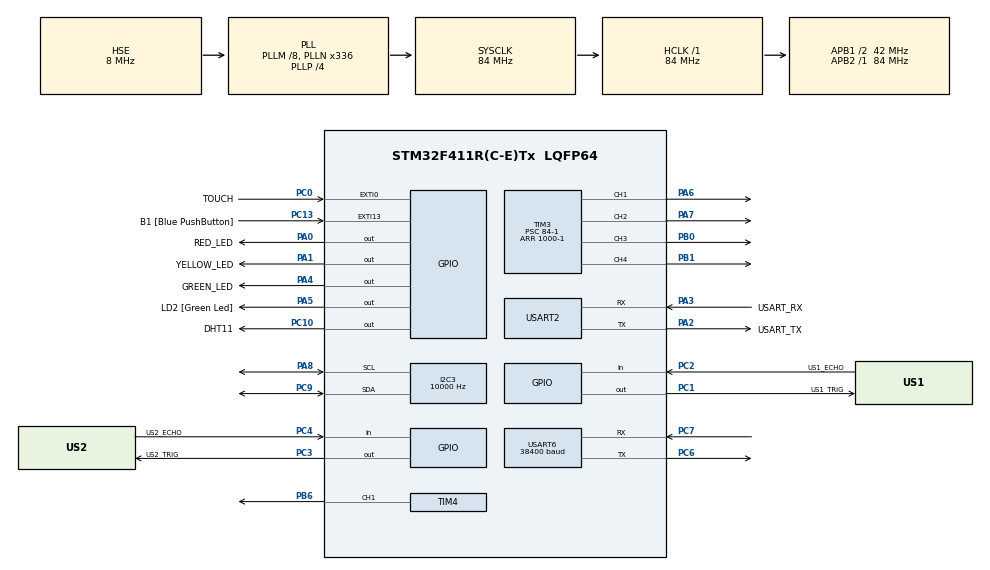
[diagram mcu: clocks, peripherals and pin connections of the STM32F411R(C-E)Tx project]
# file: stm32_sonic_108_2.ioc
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I2C3.ClockSpeed=10000
Mcu.Family=STM32F4
Mcu.Name=STM32F411R(C-E)Tx
Mcu.Package=LQFP64
NVIC.EXTI0_IRQn=true\:0\:0\:false\:false\:true\:true\:true\:true
NVIC.EXTI15_10_IRQn=true\:0\:0\:false\:false\:true\:true\:true\:true
NVIC.PriorityGroup=NVIC_PRIORITYGROUP_0
NVIC.TIM3_IRQn=true\:0\:0\:false\:false\:true\:true\:true\:true
NVIC.USART2_IRQn=true\:0\:0\:false\:false\:true\:true\:true\:true
NVIC.USART6_IRQn=true\:0\:0\:false\:false\:true\:true\:true\:true
PA0-WKUP.GPIO_Label=RED_LED
PA0-WKUP.Signal=GPIO_Output
PA1.GPIO_Label=YELLOW_LED
PA1.Signal=GPIO_Output
PA13.GPIO_Label=TMS
PA13.Mode=Serial_Wire
PA13.Signal=SYS_JTMS-SWDIO
PA14.GPIO_Label=TCK
PA14.Mode=Serial_Wire
PA14.Signal=SYS_JTCK-SWCLK
PA2.GPIO_Label=USART_TX
PA2.Mode=Asynchronous
PA2.Signal=USART2_TX
PA3.GPIO_Label=USART_RX
PA3.Mode=Asynchronous
PA3.Signal=USART2_RX
PA4.GPIO_Label=GREEN_LED
PA4.Signal=GPIO_Output
PA5.GPIO_Label=LD2 [Green Led]
PA5.Signal=GPIO_Output
PA6.Signal=S_TIM3_CH1
PA7.Signal=S_TIM3_CH2
PA8.Mode=I2C
PA8.Signal=I2C3_SCL
PB0.Signal=S_TIM3_CH3
PB1.Signal=S_TIM3_CH4
PB3.GPIO_Label=SWO
PB3.Signal=SYS_JTDO-SWO
PB6.Signal=S_TIM4_CH1
PC0.GPIO_Label=TOUCH
PC0.Signal=GPXTI0
PC1.GPIO_Label=US1_TRIG
PC1.Signal=GPIO_Output
PC10.GPIO_Label=DHT11
PC10.Signal=GPIO_Output
PC13-ANTI_TAMP.GPIO_Label=B1 [Blue PushButton]
PC13-ANTI_TAMP.GPIO_ModeDefaultEXTI=GPIO_MODE_IT_FALLING
PC13-ANTI_TAMP.Signal=GPXTI13
PC14-OSC32_IN.Signal=RCC_OSC32_IN
PC15-OSC32_OUT.Signal=RCC_OSC32_OUT
PC2.GPIO_Label=US1_ECHO
PC2.Signal=GPIO_Input
PC3.GPIO_Label=US2_TRIG
PC3.Signal=GPIO_Output
PC4.GPIO_Label=US2_ECHO
PC4.Signal=GPIO_Input
PC6.Mode=Asynchronous
PC6.Signal=USART6_TX
PC7.Mode=Asynchronous
PC7.Signal=USART6_RX
PC9.Mode=I2C
PC9.Signal=I2C3_SDA
PH0\ -\ OSC_IN.Mode=HSE-External-Oscillator
PH0\ -\ OSC_IN.Signal=RCC_OSC_IN
PH1\ -\ OSC_OUT.Mode=HSE-External-Oscillator
PH1\ -\ OSC_OUT.Signal=RCC_OSC_OUT
ProjectManager.HeapSize=0x200
ProjectManager.StackSize=0x400
ProjectManager.TargetToolchain=STM32CubeIDE
RCC.48MHZClocksFreq_Value=84000000
RCC.AHBFreq_Value=84000000
RCC.APB1CLKDivider=RCC_HCLK_DIV2
RCC.APB1Freq_Value=42000000
RCC.APB1TimFreq_Value=84000000
RCC.APB2Freq_Value=84000000
RCC.APB2TimFreq_Value=84000000
RCC.CortexFreq_Value=84000000
RCC.FLatency-AdvancedSettings=FLASH_LATENCY_2
RCC.HCLKFreq_Value=84000000
RCC.HSE_VALUE=8000000
RCC.HSI_VALUE=16000000
RCC.LSE_VALUE=32768
RCC.PLLM=8
RCC.PLLN=336
RCC.PLLP=RCC_PLLP_DIV4
RCC.PLLSourceVirtual=RCC_PLLSOURCE_HSE
RCC.SYSCLKFreq_VALUE=84000000
RCC.SYSCLKSource=RCC_SYSCLKSOURCE_PLLCLK
RCC.VCOOutputFreq_Value=336000000
SH.S_TIM3_CH1.0=TIM3_CH1,PWM Generation1 CH1
SH.S_TIM3_CH2.0=TIM3_CH2,PWM Generation2 CH2
SH.S_TIM3_CH3.0=TIM3_CH3,PWM Generation3 CH3
SH.S_TIM3_CH4.0=TIM3_CH4,PWM Generation4 CH4
SH.S_TIM4_CH1.0=TIM4_CH1,PWM Generation1 CH1
TIM3.AutoReloadPreload=TIM_AUTORELOAD_PRELOAD_ENABLE
TIM3.Channel-PWM\ Generation1\ CH1=TIM_CHANNEL_1
TIM3.Channel-PWM\ Generation2\ CH2=TIM_CHANNEL_2
TIM3.Channel-PWM\ Generation3\ CH3=TIM_CHANNEL_3
TIM3.Channel-PWM\ Generation4\ CH4=TIM_CHANNEL_4
TIM3.Period=1000-1
TIM3.Prescaler=84-1
TIM4.Channel-PWM\ Generation1\ CH1=TIM_CHANNEL_1
TIM4.Period=20000-1
TIM4.Prescaler=84-1
TIM4.Pulse-PWM\ Generation1\ CH1=500
USART2.VirtualMode=VM_ASYNC
USART6.BaudRate=38400
USART6.VirtualMode=VM_ASYNC
VP_TIM3_VS_ClockSourceINT.Mode=Internal
VP_TIM4_VS_ClockSourceINT.Mode=Internal
board=NUCLEO-F411RE

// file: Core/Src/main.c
/* USER CODE BEGIN Header */
/**
  ******************************************************************************
  * @file           : main.c
  * @brief          : Main program body
  ******************************************************************************
  * @attention
  *
  * Copyright (c) 2024 STMicroelectronics.
  * All rights reserved.
  *
  * This software is licensed under terms that can be found in the LICENSE file
  * in the root directory of this software component.
  * If no LICENSE file comes with this software, it is provided AS-IS.
  *
  ******************************************************************************
  */
/* USER CODE END Header */
#include "main.h"

/* USER CODE BEGIN Includes */
#include <stdio.h>
#include <string.h>
#include <stdlib.h>
#include "esp.h"
#include "dht.h"
#include "clcd.h"
/* USER CODE END Includes */

/* USER CODE BEGIN PD */
#ifdef __GNUC__
#define PUTCHAR_PROTOTYPE int __io_putchar(int ch)
#else
#define PUTCHAR_PROTOTYPE int fputc(int ch, FILE *f)
#endif /* __GNUC__ */
#define ARR_CNT 5
#define CMD_SIZE 50

/* USER CODE END PD */

I2C_HandleTypeDef hi2c3;

TIM_HandleTypeDef htim3;
TIM_HandleTypeDef htim4;

UART_HandleTypeDef huart2;
UART_HandleTypeDef huart6;

/* USER CODE BEGIN PV */
uint8_t rx2char;
extern cb_data_t cb_data;
extern volatile unsigned char rx2Flag;
extern volatile char rx2Data[50];
volatile int tim3Flag1Sec=1;
volatile unsigned int tim3Sec;
volatile int keyNo;
int rgbFlag;

int is_door_open = 0;
/* USER CODE END PV */

void SystemClock_Config(void);
static void MX_GPIO_Init(void);
static void MX_USART2_UART_Init(void);
static void MX_USART6_UART_Init(void);
static void MX_TIM3_Init(void);
static void MX_TIM4_Init(void);
static void MX_I2C3_Init(void);
/* USER CODE BEGIN PFP */
char strBuff[MAX_ESP_COMMAND_LEN];
void MX_GPIO_LED_ON(int flag);
void MX_GPIO_LED_OFF(int flag);
void esp_event(char *);
long map(long x, long in_min, long in_max, long out_min, long out_max);
void set_rgb_led(int red, int green, int blue);

int get_distance(GPIO_TypeDef* TrigPort, uint16_t TrigPin, GPIO_TypeDef* EchoPort, uint16_t EchoPin);
void delay_us(uint32_t us);
/* USER CODE END PFP */

int main(void)
{

  /* USER CODE BEGIN 1 */
	int ret = 0;
	int trash_dist1 = 0;
	int trash_dist2 = 0;
  /* USER CODE END 1 */

  /* MCU Configuration--------------------------------------------------------*/

  /* Reset of all peripherals, Initializes the Flash interface and the Systick. */
  HAL_Init();

  /* Configure the system clock */
  SystemClock_Config();

  /* Initialize all configured peripherals */
  MX_GPIO_Init();
  MX_USART2_UART_Init();
  MX_USART6_UART_Init();
  MX_TIM3_Init();
  MX_TIM4_Init();
  MX_I2C3_Init();
  /* USER CODE BEGIN 2 */
  printf("=== Smart Trash Can System START ===\r\n");

  ret |= drv_uart_init();
  ret |= drv_esp_init();
  if(ret != 0)
  {
	  printf("Esp response error\r\n");
	  Error_Handler();
  }

  AiotClient_Init();
// ==========================================

  // 2. 서보모터 초기화 (문 닫기)
  HAL_TIM_PWM_Start(&htim4, TIM_CHANNEL_1);
  __HAL_TIM_SetCompare(&htim4, TIM_CHANNEL_1, 1500);
  printf("Servo Motor Initialized (Original Position - 90 deg)\r\n");

  uint32_t last_sensing_time = 0;

  /* USER CODE END 2 */

  /* Infinite loop */
  /* USER CODE BEGIN WHILE */
  while (1)
  {
		if(strstr((char *)cb_data.buf,"+IPD") && cb_data.buf[cb_data.length-1] == '\n')
		{
			//?��?��?���??  \r\n+IPD,15:[KSH_LIN]HELLO\n
			strcpy(strBuff,strchr((char *)cb_data.buf,'['));
			memset(cb_data.buf,0x0,sizeof(cb_data.buf));
			cb_data.length = 0;
			esp_event(strBuff);
		}

		if(HAL_GPIO_ReadPin(TOUCH_GPIO_Port, TOUCH_Pin) == GPIO_PIN_SET)
				{
					if(is_door_open == 0) // 문이 닫혀있을 때(가로 상태)
					{
						printf("[Touch] Rotating Right to Vertical...\r\n");

						// (1) 오른쪽으로 회전
						__HAL_TIM_SetCompare(&htim4, TIM_CHANNEL_1, 500);
						is_door_open = 1;

						// (2) 서버 전송
						esp_send_data("[ID]DOOR@OPEN\n");

						// (3) 3초 대기 (세로 상태 유지)
						HAL_Delay(3000);

					    // (4) 원위치 복귀
						printf("Returning to Position 2...\r\n");
						__HAL_TIM_SetCompare(&htim4, TIM_CHANNEL_1, 1500);
						is_door_open = 0;

						HAL_Delay(500);
					}
				}
		if(HAL_GetTick() - last_sensing_time > 5000)
		{
			last_sensing_time = HAL_GetTick();

			// (1) 쓰레기통 내부 높이 측정 (초음파 1번)
			trash_dist1 = get_distance(US1_TRIG_GPIO_Port, US1_TRIG_Pin, US1_ECHO_GPIO_Port, US1_ECHO_Pin);
			HAL_Delay(50); // 센서 간섭 방지

			// (2) 높이 측정 (초음파 2번)
			trash_dist2 = get_distance(US2_TRIG_GPIO_Port, US2_TRIG_Pin, US2_ECHO_GPIO_Port, US2_ECHO_Pin);

			printf("[Sensor] Trash Height 1: %d cm, Trash Height 2: %d cm\r\n", trash_dist1, trash_dist2);

			// (3) 데이터 전송 (형식: TRASH@높이1@높이2)
			char sendData[50];
			sprintf(sendData, "[TRASH_SQL]TRASH@%d@%d\n", trash_dist1, trash_dist2);
			esp_send_data(sendData);

			sprintf(sendData, "[ARDUINO]TRASH@%d@%d\n", trash_dist1, trash_dist2);
			esp_send_data(sendData);

		}

		if ((trash_dist1+trash_dist2)/2 < 6) // 쓰레기가 거의 꽉 참 -> 빨강
		{
		    HAL_GPIO_WritePin(RED_LED_GPIO_Port, RED_LED_Pin, GPIO_PIN_SET);   // 빨강 ON
		    HAL_GPIO_WritePin(YELLOW_LED_GPIO_Port, YELLOW_LED_Pin, GPIO_PIN_RESET); // 노랑 OFF
		    HAL_GPIO_WritePin(GREEN_LED_GPIO_Port, GREEN_LED_Pin, GPIO_PIN_RESET); // 초록 OFF
		}
		else if ((trash_dist1+trash_dist2)/2 < 17) // 중간 정도 참 -> 노랑
		{
		    HAL_GPIO_WritePin(RED_LED_GPIO_Port, RED_LED_Pin, GPIO_PIN_RESET); // 빨강 OFF
		    HAL_GPIO_WritePin(YELLOW_LED_GPIO_Port, YELLOW_LED_Pin, GPIO_PIN_SET);   // 노랑 ON
		    HAL_GPIO_WritePin(GREEN_LED_GPIO_Port, GREEN_LED_Pin, GPIO_PIN_RESET); // 초록 OFF
		}

		else // 널널함 (20cm 이상) -> 초록
		{
		    HAL_GPIO_WritePin(RED_LED_GPIO_Port, RED_LED_Pin, GPIO_PIN_RESET); // 빨강 OFF
		    HAL_GPIO_WritePin(YELLOW_LED_GPIO_Port, YELLOW_LED_Pin, GPIO_PIN_RESET); // 노랑 OFF
		    HAL_GPIO_WritePin(GREEN_LED_GPIO_Port, GREEN_LED_Pin, GPIO_PIN_SET);   // 초록 ON
		}

    /* USER CODE END WHILE */

  }
}

void SystemClock_Config(void)
{
  RCC_OscInitTypeDef RCC_OscInitStruct = {0};
  RCC_ClkInitTypeDef RCC_ClkInitStruct = {0};

  /** Configure the main internal regulator output voltage
  */
  __HAL_RCC_PWR_CLK_ENABLE();
  __HAL_PWR_VOLTAGESCALING_CONFIG(PWR_REGULATOR_VOLTAGE_SCALE1);

  /** Initializes the RCC Oscillators according to the specified parameters
  * in the RCC_OscInitTypeDef structure.
  */
  RCC_OscInitStruct.OscillatorType = RCC_OSCILLATORTYPE_HSE;
  RCC_OscInitStruct.HSEState = RCC_HSE_ON;
  RCC_OscInitStruct.PLL.PLLState = RCC_PLL_ON;
  RCC_OscInitStruct.PLL.PLLSource = RCC_PLLSOURCE_HSE;
  RCC_OscInitStruct.PLL.PLLM = 8;
  RCC_OscInitStruct.PLL.PLLN = 336;
  RCC_OscInitStruct.PLL.PLLP = RCC_PLLP_DIV4;
  RCC_OscInitStruct.PLL.PLLQ = 4;
  if (HAL_RCC_OscConfig(&RCC_OscInitStruct) != HAL_OK)
  {
    Error_Handler();
  }

  /** Initializes the CPU, AHB and APB buses clocks
  */
  RCC_ClkInitStruct.ClockType = RCC_CLOCKTYPE_HCLK|RCC_CLOCKTYPE_SYSCLK
                              |RCC_CLOCKTYPE_PCLK1|RCC_CLOCKTYPE_PCLK2;
  RCC_ClkInitStruct.SYSCLKSource = RCC_SYSCLKSOURCE_PLLCLK;
  RCC_ClkInitStruct.AHBCLKDivider = RCC_SYSCLK_DIV1;
  RCC_ClkInitStruct.APB1CLKDivider = RCC_HCLK_DIV2;
  RCC_ClkInitStruct.APB2CLKDivider = RCC_HCLK_DIV1;

  if (HAL_RCC_ClockConfig(&RCC_ClkInitStruct, FLASH_LATENCY_2) != HAL_OK)
  {
    Error_Handler();
  }
}

static void MX_I2C3_Init(void)
{

  hi2c3.Instance = I2C3;
  hi2c3.Init.ClockSpeed = 10000;
  hi2c3.Init.DutyCycle = I2C_DUTYCYCLE_2;
  hi2c3.Init.OwnAddress1 = 0;
  hi2c3.Init.AddressingMode = I2C_ADDRESSINGMODE_7BIT;
  hi2c3.Init.DualAddressMode = I2C_DUALADDRESS_DISABLE;
  hi2c3.Init.OwnAddress2 = 0;
  hi2c3.Init.GeneralCallMode = I2C_GENERALCALL_DISABLE;
  hi2c3.Init.NoStretchMode = I2C_NOSTRETCH_DISABLE;
  if (HAL_I2C_Init(&hi2c3) != HAL_OK)
  {
    Error_Handler();
  }

}

static void MX_TIM3_Init(void)
{

  TIM_ClockConfigTypeDef sClockSourceConfig = {0};
  TIM_MasterConfigTypeDef sMasterConfig = {0};
  TIM_OC_InitTypeDef sConfigOC = {0};

  htim3.Instance = TIM3;
  htim3.Init.Prescaler = 84-1;
  htim3.Init.CounterMode = TIM_COUNTERMODE_UP;
  htim3.Init.Period = 1000-1;
  htim3.Init.ClockDivision = TIM_CLOCKDIVISION_DIV1;
  htim3.Init.AutoReloadPreload = TIM_AUTORELOAD_PRELOAD_ENABLE;
  if (HAL_TIM_Base_Init(&htim3) != HAL_OK)
  {
    Error_Handler();
  }
  sClockSourceConfig.ClockSource = TIM_CLOCKSOURCE_INTERNAL;
  if (HAL_TIM_ConfigClockSource(&htim3, &sClockSourceConfig) != HAL_OK)
  {
    Error_Handler();
  }
  if (HAL_TIM_PWM_Init(&htim3) != HAL_OK)
  {
    Error_Handler();
  }
  sMasterConfig.MasterOutputTrigger = TIM_TRGO_RESET;
  sMasterConfig.MasterSlaveMode = TIM_MASTERSLAVEMODE_DISABLE;
  if (HAL_TIMEx_MasterConfigSynchronization(&htim3, &sMasterConfig) != HAL_OK)
  {
    Error_Handler();
  }
  sConfigOC.OCMode = TIM_OCMODE_PWM1;
  sConfigOC.Pulse = 0;
  sConfigOC.OCPolarity = TIM_OCPOLARITY_HIGH;
  sConfigOC.OCFastMode = TIM_OCFAST_DISABLE;
  if (HAL_TIM_PWM_ConfigChannel(&htim3, &sConfigOC, TIM_CHANNEL_1) != HAL_OK)
  {
    Error_Handler();
  }
  if (HAL_TIM_PWM_ConfigChannel(&htim3, &sConfigOC, TIM_CHANNEL_2) != HAL_OK)
  {
    Error_Handler();
  }
  if (HAL_TIM_PWM_ConfigChannel(&htim3, &sConfigOC, TIM_CHANNEL_3) != HAL_OK)
  {
    Error_Handler();
  }
  if (HAL_TIM_PWM_ConfigChannel(&htim3, &sConfigOC, TIM_CHANNEL_4) != HAL_OK)
  {
    Error_Handler();
  }
  HAL_TIM_MspPostInit(&htim3);

}

static void MX_TIM4_Init(void)
{

  TIM_ClockConfigTypeDef sClockSourceConfig = {0};
  TIM_MasterConfigTypeDef sMasterConfig = {0};
  TIM_OC_InitTypeDef sConfigOC = {0};

  htim4.Instance = TIM4;
  htim4.Init.Prescaler = 84-1;
  htim4.Init.CounterMode = TIM_COUNTERMODE_UP;
  htim4.Init.Period = 20000-1;
  htim4.Init.ClockDivision = TIM_CLOCKDIVISION_DIV1;
  htim4.Init.AutoReloadPreload = TIM_AUTORELOAD_PRELOAD_DISABLE;
  if (HAL_TIM_Base_Init(&htim4) != HAL_OK)
  {
    Error_Handler();
  }
  sClockSourceConfig.ClockSource = TIM_CLOCKSOURCE_INTERNAL;
  if (HAL_TIM_ConfigClockSource(&htim4, &sClockSourceConfig) != HAL_OK)
  {
    Error_Handler();
  }
  if (HAL_TIM_PWM_Init(&htim4) != HAL_OK)
  {
    Error_Handler();
  }
  sMasterConfig.MasterOutputTrigger = TIM_TRGO_RESET;
  sMasterConfig.MasterSlaveMode = TIM_MASTERSLAVEMODE_DISABLE;
  if (HAL_TIMEx_MasterConfigSynchronization(&htim4, &sMasterConfig) != HAL_OK)
  {
    Error_Handler();
  }
  sConfigOC.OCMode = TIM_OCMODE_PWM1;
  sConfigOC.Pulse = 500;
  sConfigOC.OCPolarity = TIM_OCPOLARITY_HIGH;
  sConfigOC.OCFastMode = TIM_OCFAST_DISABLE;
  if (HAL_TIM_PWM_ConfigChannel(&htim4, &sConfigOC, TIM_CHANNEL_1) != HAL_OK)
  {
    Error_Handler();
  }
  HAL_TIM_MspPostInit(&htim4);

}

static void MX_USART2_UART_Init(void)
{

  huart2.Instance = USART2;
  huart2.Init.BaudRate = 115200;
  huart2.Init.WordLength = UART_WORDLENGTH_8B;
  huart2.Init.StopBits = UART_STOPBITS_1;
  huart2.Init.Parity = UART_PARITY_NONE;
  huart2.Init.Mode = UART_MODE_TX_RX;
  huart2.Init.HwFlowCtl = UART_HWCONTROL_NONE;
  huart2.Init.OverSampling = UART_OVERSAMPLING_16;
  if (HAL_UART_Init(&huart2) != HAL_OK)
  {
    Error_Handler();
  }

}

static void MX_USART6_UART_Init(void)
{

  huart6.Instance = USART6;
  huart6.Init.BaudRate = 38400;
  huart6.Init.WordLength = UART_WORDLENGTH_8B;
  huart6.Init.StopBits = UART_STOPBITS_1;
  huart6.Init.Parity = UART_PARITY_NONE;
  huart6.Init.Mode = UART_MODE_TX_RX;
  huart6.Init.HwFlowCtl = UART_HWCONTROL_NONE;
  huart6.Init.OverSampling = UART_OVERSAMPLING_16;
  if (HAL_UART_Init(&huart6) != HAL_OK)
  {
    Error_Handler();
  }

}

static void MX_GPIO_Init(void)
{
  GPIO_InitTypeDef GPIO_InitStruct = {0};

  /* GPIO Ports Clock Enable */
  __HAL_RCC_GPIOC_CLK_ENABLE();
  __HAL_RCC_GPIOH_CLK_ENABLE();
  __HAL_RCC_GPIOA_CLK_ENABLE();
  __HAL_RCC_GPIOB_CLK_ENABLE();

  /*Configure GPIO pin Output Level */
  HAL_GPIO_WritePin(GPIOC, US1_TRIG_Pin|US2_TRIG_Pin|DHT11_Pin, GPIO_PIN_RESET);

  /*Configure GPIO pin Output Level */
  HAL_GPIO_WritePin(GPIOA, RED_LED_Pin|YELLOW_LED_Pin|GREEN_LED_Pin|LD2_Pin, GPIO_PIN_RESET);

  /*Configure GPIO pin : B1_Pin */
  GPIO_InitStruct.Pin = B1_Pin;
  GPIO_InitStruct.Mode = GPIO_MODE_IT_FALLING;
  GPIO_InitStruct.Pull = GPIO_NOPULL;
  HAL_GPIO_Init(B1_GPIO_Port, &GPIO_InitStruct);

  /*Configure GPIO pin : TOUCH_Pin */
  GPIO_InitStruct.Pin = TOUCH_Pin;
  GPIO_InitStruct.Mode = GPIO_MODE_IT_RISING;
  GPIO_InitStruct.Pull = GPIO_NOPULL;
  HAL_GPIO_Init(TOUCH_GPIO_Port, &GPIO_InitStruct);

  /*Configure GPIO pins : US1_TRIG_Pin US2_TRIG_Pin DHT11_Pin */
  GPIO_InitStruct.Pin = US1_TRIG_Pin|US2_TRIG_Pin|DHT11_Pin;
  GPIO_InitStruct.Mode = GPIO_MODE_OUTPUT_PP;
  GPIO_InitStruct.Pull = GPIO_NOPULL;
  GPIO_InitStruct.Speed = GPIO_SPEED_FREQ_LOW;
  HAL_GPIO_Init(GPIOC, &GPIO_InitStruct);

  /*Configure GPIO pins : US1_ECHO_Pin US2_ECHO_Pin */
  GPIO_InitStruct.Pin = US1_ECHO_Pin|US2_ECHO_Pin;
  GPIO_InitStruct.Mode = GPIO_MODE_INPUT;
  GPIO_InitStruct.Pull = GPIO_NOPULL;
  HAL_GPIO_Init(GPIOC, &GPIO_InitStruct);

  /*Configure GPIO pins : RED_LED_Pin YELLOW_LED_Pin GREEN_LED_Pin LD2_Pin */
  GPIO_InitStruct.Pin = RED_LED_Pin|YELLOW_LED_Pin|GREEN_LED_Pin|LD2_Pin;
  GPIO_InitStruct.Mode = GPIO_MODE_OUTPUT_PP;
  GPIO_InitStruct.Pull = GPIO_NOPULL;
  GPIO_InitStruct.Speed = GPIO_SPEED_FREQ_LOW;
  HAL_GPIO_Init(GPIOA, &GPIO_InitStruct);

  /* EXTI interrupt init*/
  HAL_NVIC_SetPriority(EXTI0_IRQn, 0, 0);
  HAL_NVIC_EnableIRQ(EXTI0_IRQn);

  HAL_NVIC_SetPriority(EXTI15_10_IRQn, 0, 0);
  HAL_NVIC_EnableIRQ(EXTI15_10_IRQn);

}

/* USER CODE BEGIN 4 */
int get_distance(GPIO_TypeDef* TrigPort, uint16_t TrigPin, GPIO_TypeDef* EchoPort, uint16_t EchoPin)
{
    // 1. Trig 발생
    HAL_GPIO_WritePin(TrigPort, TrigPin, GPIO_PIN_SET);
    delay_us(10);
    HAL_GPIO_WritePin(TrigPort, TrigPin, GPIO_PIN_RESET);
    // 2. Echo 대기
    uint32_t timeout = 0;
    while(HAL_GPIO_ReadPin(EchoPort, EchoPin) == GPIO_PIN_RESET)
    {
        timeout++;
        delay_us(1);
        if(timeout > 20000) return 0; // 에러
    }
    // 3. Echo 길이 측정
    uint32_t pulse_width = 0;
    while(HAL_GPIO_ReadPin(EchoPort, EchoPin) == GPIO_PIN_SET)
    {
        pulse_width++;
        delay_us(1);
        if(pulse_width > 25000) break;
    }
    // 4. 거리 계산 (cm)
    return (int)(pulse_width / 28);
}
void delay_us(uint32_t us)
{
    volatile uint32_t count = us * 12;
    while(count--);
}
void esp_event(char * recvBuf)
{
  int i=0;
  char * pToken;
  char * pArray[ARR_CNT]={0};
  char sendBuf[MAX_UART_COMMAND_LEN]={0};

  // 수신된 문자열 끝의 개행문자 제거
  strBuff[strlen(recvBuf)-1] = '\0';
  printf("\r\nDebug recv : %s\r\n",recvBuf);

  // 문자열 파싱 (구분자 [@])
  pToken = strtok(recvBuf,"[@]");
  while(pToken != NULL)
  {
    pArray[i] = pToken;
    if(++i >= ARR_CNT)
      break;
    pToken = strtok(NULL,"[@]");
  }

  if(!strcmp(pArray[1],"SERVO"))
  {
    // 0~180도 값을 받아서 500~2500 펄스로 변환
    int value = atoi(pArray[2]);
    value = map(value, 0, 180, 500, 2500);

    // 서보모터 제어 (TIM4 Channel 1 사용 중)
    __HAL_TIM_SetCompare(&htim4, TIM_CHANNEL_1, (value-1)<0 ? 0 : value-1);

    // 서버로 응답 메시지 생성
    sprintf(sendBuf,"[%s]%s@%s\n", pArray[0], pArray[1], pArray[2]);
  }
  else if(!strncmp(pArray[1]," New conn",8))
  {
     return;
  }
  else if(!strncmp(pArray[1]," Already log",8))
  {
      esp_client_conn();
      return;
  }
  else
  {
      return;
  }

  // 서버로 데이터 전송
  esp_send_data(sendBuf);
  printf("Debug send : %s\r\n",sendBuf);
}
void HAL_TIM_PeriodElapsedCallback(TIM_HandleTypeDef *htim)		//1ms 마다 호출
{
	static int tim3Cnt = 0;
	tim3Cnt++;
	if(tim3Cnt >= 1000) //1ms * 1000 = 1Sec
	{
		tim3Flag1Sec = 1;
		tim3Sec++;
		tim3Cnt = 0;
	}
}
long map(long x, long in_min, long in_max, long out_min, long out_max) {
  return (x - in_min) * (out_max - out_min) / (in_max - in_min) + out_min;
}
/* USER CODE END 4 */

void Error_Handler(void)
{
  __disable_irq();
  while (1)
  {
  }
}
